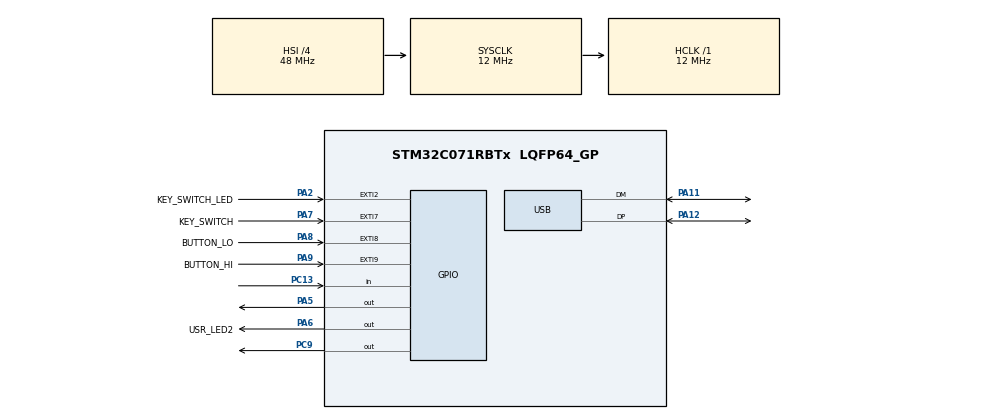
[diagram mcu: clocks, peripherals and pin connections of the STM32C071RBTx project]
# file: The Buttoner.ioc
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FLASH.OB_NBOOT0_UI=OB_nBOOT0_NOUPD
FLASH.OB_NBOOT1_UI=OB_BOOT1__NOUPD
FLASH.OB_User_Configuration_active=true
FLASH.OB_nBOOT_SEL_UI=OB_BOOT0_FROM_PIN
FLASH.advanced_settings=false
Mcu.Family=STM32C0
Mcu.Name=STM32C071RBTx
Mcu.Package=LQFP64_GP
NUCLEO-C071RB.BUTTON=1
NUCLEO-C071RB.Bsp_Common_DEMO=true
NUCLEO-C071RB.LD1=true
NUCLEO-C071RB.LD2=true
NUCLEO-C071RB.VCP=false
NVIC.EXTI4_15_IRQn=true\:0\:0\:false\:false\:true\:false\:true\:true
PA11\ [PA9].Mode=Device
PA11\ [PA9].Signal=USB_DM
PA12\ [PA10].Mode=Device
PA12\ [PA10].Signal=USB_DP
PA13.Mode=Serial_Wire
PA13.Signal=DEBUG_SWDIO
PA14-BOOT0.Mode=Serial_Wire
PA14-BOOT0.Signal=DEBUG_SWCLK
PA2.GPIO_Label=KEY_SWITCH_LED
PA2.GPIO_ModeDefaultEXTI=GPIO_MODE_IT_RISING
PA2.GPIO_PuPd=GPIO_PULLUP
PA2.Signal=GPXTI2
PA5.Signal=GPIO_Output
PA6.GPIO_Label=USR_LED2
PA6.Signal=GPIO_Output
PA7.GPIO_Label=KEY_SWITCH
PA7.GPIO_ModeDefaultEXTI=GPIO_MODE_IT_RISING_FALLING
PA7.GPIO_PuPd=GPIO_PULLUP
PA7.Signal=GPXTI7
PA8.GPIO_Label=BUTTON_LO
PA8.GPIO_ModeDefaultEXTI=GPIO_MODE_IT_RISING_FALLING
PA8.GPIO_PuPd=GPIO_PULLUP
PA8.Signal=GPXTI8
PA9\ [PA11].GPIO_Label=BUTTON_HI
PA9\ [PA11].GPIO_ModeDefaultEXTI=GPIO_MODE_IT_RISING_FALLING
PA9\ [PA11].GPIO_PuPd=GPIO_PULLUP
PA9\ [PA11].Signal=GPXTI9
PC13.Signal=GPIO_Input
PC9.Signal=GPIO_Output
ProjectManager.HeapSize=0x200
ProjectManager.StackSize=0x400
ProjectManager.TargetToolchain=STM32CubeIDE
RCC.ADCFreq_Value=12000000
RCC.AHBFreq_Value=12000000
RCC.CortexFreq_Value=12000000
RCC.EXTERNAL_CLOCK_VALUE=12288000
RCC.HCLKFreq_Value=12000000
RCC.HSE_VALUE=8000000
RCC.HSI48_VALUE=48000000
RCC.HSI_VALUE=48000000
RCC.LSE_VALUE=32768
RCC.SYSCLKFreq_VALUE=12000000
TIM2.AutoReloadPreload=TIM_AUTORELOAD_PRELOAD_DISABLE
TIM2.Period=4294967295
TIM2.TIM_MasterOutputTrigger=TIM_TRGO_ENABLE
TIM2.TIM_MasterSlaveMode=TIM_MASTERSLAVEMODE_DISABLE
USB.VirtualMode=Device_Only
VP_CRC_VS_CRC.Mode=CRC_Activate
VP_FLASH_SIG_Activate_FlashIP.Mode=Activate_FlashIP
VP_NUCLEO-C071RB_VS_BSP_COMMON.Mode=COMMON
VP_TIM2_VS_ClockSourceINT.Mode=Internal
board=NUCLEO-C071RB

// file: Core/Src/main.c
/* USER CODE BEGIN Header */
/**
 ******************************************************************************
 * @file           : main.c
 * @brief          : Main program body
 ******************************************************************************
 * @attention
 *
 * Copyright (c) 2024 STMicroelectronics.
 * All rights reserved.
 *
 * This software is licensed under terms that can be found in the LICENSE file
 * in the root directory of this software component.
 * If no LICENSE file comes with this software, it is provided AS-IS.
 *
 ******************************************************************************
 */
/* USER CODE END Header */
#include "main.h"

__IO uint32_t BspButtonState = BUTTON_RELEASED;

CRC_HandleTypeDef hcrc;

TIM_HandleTypeDef htim2;

PCD_HandleTypeDef hpcd_USB_DRD_FS;

/* USER CODE BEGIN PV */
bool main_initialized = false;
/* USER CODE END PV */

void SystemClock_Config(void);
static void MX_GPIO_Init(void);
static void MX_USB_PCD_Init(void);
static void MX_TIM2_Init(void);
static void MX_FLASH_Init(void);
static void MX_CRC_Init(void);

/* USER CODE BEGIN 0 */

void start_button_timer() {
	htim2.Instance->CNT = 0; // initial run timers seems to be running alr
	HAL_TIM_Base_Start_IT(&htim2);
}

bool enable_nsfw(){

	return (HAL_GPIO_ReadPin(KEY_SWITCH_GPIO_Port, KEY_SWITCH_Pin) == 0);
}

typedef enum Press_Typedef {
	Hardest_Press = 0,
	Hard_Press,
	Medium_Press,
	Soft_Press
} Press_Typedef;

void print_out(Press_Typedef severity){

	if(enable_nsfw())
	{
//		hid_print_text(&NSFW_TEXTS[severity][0]);
		hid_print_text((const char*)messages_get_current()->bank_a[severity]);
	} else {
//		hid_print_text(&SFW_TEXTS[severity][0]);
		hid_print_text((const char*)messages_get_current()->bank_b[severity]);
	}
}

Press_Typedef duration_to_press(uint32_t pressDurationUs) {
	Press_Typedef severity;
	if (pressDurationUs < HARD_MED_LIMIT_US) {
		severity = Hardest_Press;
	} else if (pressDurationUs < MED_SOFT_LIMIT_US) {
		severity = Hard_Press;
	} else if (pressDurationUs < SOFT_LIMIT_US) {
		severity = Medium_Press;
	} else {
		severity = Soft_Press;
	}
	return severity;

}

uint32_t end_button_timer() {
		uint32_t currentCount = htim2.Instance->CNT;
		HAL_TIM_Base_Stop_IT(&htim2);
		uint32_t durationUs = currentCount / 12;
		htim2.Instance->CNT = 0; // clear the counter so we can't double trigger
		return durationUs;
}

void HAL_GPIO_EXTI_Rising_Callback(uint16_t GPIO_Pin) {
	if(!main_initialized)
	{
		return;
	}
	if (GPIO_Pin == BUTTON_LO_Pin) {
		BSP_LED_Off(LED_GREEN);
	}
	if (GPIO_Pin == BUTTON_HI_Pin) {
		BSP_LED_Off(LED_BLUE);
		HAL_GPIO_WritePin(USR_LED2_GPIO_Port, USR_LED2_Pin, GPIO_PIN_RESET);
		uint32_t pressDurationUs = end_button_timer();
		if(pressDurationUs > 0){
			// The button wasn't pressed hard enough to trigger the lower switch, thus consider this the lowest severity
			print_out(Soft_Press);
		}
	}
	if (GPIO_Pin == KEY_SWITCH_Pin) {
		  GPIO_InitTypeDef GPIO_InitStruct = {0};
		  GPIO_InitStruct.Pin = KEY_SWITCH_LED_Pin;
		  GPIO_InitStruct.Mode = GPIO_MODE_IT_RISING;
		  GPIO_InitStruct.Pull = GPIO_PULLDOWN; // cheating by using internal resistor instead of push/pull -> LED OFF
		  HAL_GPIO_Init(KEY_SWITCH_LED_GPIO_Port, &GPIO_InitStruct);
	}

}

void HAL_GPIO_EXTI_Falling_Callback(uint16_t GPIO_Pin) {
	if(!main_initialized)
	{
		return;
	}

	if (GPIO_Pin == BUTTON_LO_Pin) {
		BSP_LED_On(LED_GREEN);
		uint32_t pressDurationUs = end_button_timer();
		if(pressDurationUs > 0)
		{
			Press_Typedef press = duration_to_press(pressDurationUs);
			print_out(press);
		}
	}
	if (GPIO_Pin == BUTTON_HI_Pin) {
		BSP_LED_On(LED_BLUE);
		HAL_GPIO_WritePin(USR_LED2_GPIO_Port, USR_LED2_Pin, GPIO_PIN_SET);
		start_button_timer();
	}
	if (GPIO_Pin == KEY_SWITCH_Pin) {
		  GPIO_InitTypeDef GPIO_InitStruct = {0};
		  GPIO_InitStruct.Pin = KEY_SWITCH_LED_Pin;
		  GPIO_InitStruct.Mode = GPIO_MODE_IT_RISING;
		  GPIO_InitStruct.Pull = GPIO_PULLUP; // cheating by using internal resistor instead of push/pull
		  HAL_GPIO_Init(KEY_SWITCH_LED_GPIO_Port, &GPIO_InitStruct);
	}
}

/* USER CODE END 0 */

int main(void)
{

  /* MCU Configuration--------------------------------------------------------*/

  /* Reset of all peripherals, Initializes the Flash interface and the Systick. */
  HAL_Init();

  /* Configure the system clock */
  SystemClock_Config();

  /* Initialize all configured peripherals */
  MX_GPIO_Init();
  MX_USB_PCD_Init();
  MX_TIM2_Init();
  MX_FLASH_Init();
  MX_CRC_Init();
  /* USER CODE BEGIN 2 */

  if((HAL_GPIO_ReadPin(BUTTON_HI_GPIO_Port, BUTTON_HI_Pin) == 0 && HAL_GPIO_ReadPin(BUTTON_LO_GPIO_Port, BUTTON_LO_Pin) == 0)){
	  // enter bootloader
	  JumpToBootloader();
  }

  /* USER CODE END 2 */

  /* Initialize leds */
  BSP_LED_Init(LED_GREEN);
  BSP_LED_Init(LED_BLUE);

  /* Initialize USER push-button, will be used to trigger an interrupt each time it's pressed.*/
  BSP_PB_Init(BUTTON_USER, BUTTON_MODE_EXTI);

  /* USER CODE BEGIN BSP */

	/* -- Sample board code to switch on leds ---- */

	USBapp_Init();

	main_initialized = true;
  /* USER CODE END BSP */

  /* Infinite loop */
  /* USER CODE BEGIN WHILE */
	while (1) {
		// just wait for interrupts
		__WFI();

//    /* -- Sample board code for User push-button in interrupt mode ---- */
//    if (BspButtonState == BUTTON_PRESSED)
//    {
//      /* Update button state */
//      BspButtonState = BUTTON_RELEASED;
//      /* -- Sample board code to toggle leds ---- */
//      BSP_LED_Toggle(LED_GREEN);
//      BSP_LED_Toggle(LED_BLUE);
//
//      /* ..... Perform your action ..... */
//    }
    /* USER CODE END WHILE */

	}
}

void SystemClock_Config(void)
{
  RCC_OscInitTypeDef RCC_OscInitStruct = {0};
  RCC_ClkInitTypeDef RCC_ClkInitStruct = {0};

  __HAL_FLASH_SET_LATENCY(FLASH_LATENCY_0);

  /** Initializes the RCC Oscillators according to the specified parameters
  * in the RCC_OscInitTypeDef structure.
  */
  RCC_OscInitStruct.OscillatorType = RCC_OSCILLATORTYPE_HSI|RCC_OSCILLATORTYPE_HSI48;
  RCC_OscInitStruct.HSIState = RCC_HSI_ON;
  RCC_OscInitStruct.HSIDiv = RCC_HSI_DIV4;
  RCC_OscInitStruct.HSICalibrationValue = RCC_HSICALIBRATION_DEFAULT;
  RCC_OscInitStruct.HSI48State = RCC_HSI48_ON;

  if (HAL_RCC_OscConfig(&RCC_OscInitStruct) != HAL_OK)
  {
    Error_Handler();
  }

  /** Initializes the CPU, AHB and APB buses clocks
  */
  RCC_ClkInitStruct.ClockType = RCC_CLOCKTYPE_HCLK|RCC_CLOCKTYPE_SYSCLK
                              |RCC_CLOCKTYPE_PCLK1;
  RCC_ClkInitStruct.SYSCLKSource = RCC_SYSCLKSOURCE_HSI;
  RCC_ClkInitStruct.SYSCLKDivider = RCC_SYSCLK_DIV1;
  RCC_ClkInitStruct.AHBCLKDivider = RCC_HCLK_DIV1;
  RCC_ClkInitStruct.APB1CLKDivider = RCC_APB1_DIV1;

  if (HAL_RCC_ClockConfig(&RCC_ClkInitStruct, FLASH_LATENCY_0) != HAL_OK)
  {
    Error_Handler();
  }
}

static void MX_CRC_Init(void)
{

  hcrc.Instance = CRC;
  hcrc.Init.DefaultPolynomialUse = DEFAULT_POLYNOMIAL_ENABLE;
  hcrc.Init.DefaultInitValueUse = DEFAULT_INIT_VALUE_ENABLE;
  hcrc.Init.InputDataInversionMode = CRC_INPUTDATA_INVERSION_NONE;
  hcrc.Init.OutputDataInversionMode = CRC_OUTPUTDATA_INVERSION_DISABLE;
  hcrc.InputDataFormat = CRC_INPUTDATA_FORMAT_BYTES;
  if (HAL_CRC_Init(&hcrc) != HAL_OK)
  {
    Error_Handler();
  }
  /* USER CODE BEGIN CRC_Init 2 */
  // todo actually wire in the crc
  /* USER CODE END CRC_Init 2 */

}

static void MX_FLASH_Init(void)
{

  FLASH_OBProgramInitTypeDef pOBInit = {0};

  if (HAL_FLASH_Unlock() != HAL_OK)
  {
    Error_Handler();
  }

  /* Option Bytes settings */

  if (HAL_FLASH_OB_Unlock() != HAL_OK)
  {
    Error_Handler();
  }
  pOBInit.OptionType = OPTIONBYTE_USER;
  pOBInit.USERType = OB_USER_NBOOT_SEL;
  pOBInit.USERConfig = OB_BOOT0_FROM_PIN;
  if (HAL_FLASHEx_OBProgram(&pOBInit) != HAL_OK)
  {
    Error_Handler();
  }
  if (HAL_FLASH_OB_Lock() != HAL_OK)
  {
    Error_Handler();
  }
  if (HAL_FLASH_Lock() != HAL_OK)
  {
    Error_Handler();
  }

}

static void MX_TIM2_Init(void)
{

  TIM_ClockConfigTypeDef sClockSourceConfig = {0};
  TIM_MasterConfigTypeDef sMasterConfig = {0};

  htim2.Instance = TIM2;
  htim2.Init.Prescaler = 0;
  htim2.Init.CounterMode = TIM_COUNTERMODE_UP;
  htim2.Init.Period = 4294967295;
  htim2.Init.ClockDivision = TIM_CLOCKDIVISION_DIV1;
  htim2.Init.AutoReloadPreload = TIM_AUTORELOAD_PRELOAD_DISABLE;
  if (HAL_TIM_Base_Init(&htim2) != HAL_OK)
  {
    Error_Handler();
  }
  sClockSourceConfig.ClockSource = TIM_CLOCKSOURCE_INTERNAL;
  if (HAL_TIM_ConfigClockSource(&htim2, &sClockSourceConfig) != HAL_OK)
  {
    Error_Handler();
  }
  sMasterConfig.MasterOutputTrigger = TIM_TRGO_ENABLE;
  sMasterConfig.MasterSlaveMode = TIM_MASTERSLAVEMODE_DISABLE;
  if (HAL_TIMEx_MasterConfigSynchronization(&htim2, &sMasterConfig) != HAL_OK)
  {
    Error_Handler();
  }
  /* USER CODE BEGIN TIM2_Init 2 */
	HAL_TIM_Base_Start(&htim2);
  /* USER CODE END TIM2_Init 2 */

}

static void MX_USB_PCD_Init(void)
{

  hpcd_USB_DRD_FS.Instance = USB_DRD_FS;
  hpcd_USB_DRD_FS.Init.dev_endpoints = 8;
  hpcd_USB_DRD_FS.Init.speed = USBD_FS_SPEED;
  hpcd_USB_DRD_FS.Init.phy_itface = PCD_PHY_EMBEDDED;
  hpcd_USB_DRD_FS.Init.Sof_enable = DISABLE;
  hpcd_USB_DRD_FS.Init.low_power_enable = DISABLE;
  hpcd_USB_DRD_FS.Init.lpm_enable = DISABLE;
  hpcd_USB_DRD_FS.Init.battery_charging_enable = DISABLE;
  hpcd_USB_DRD_FS.Init.vbus_sensing_enable = DISABLE;
  hpcd_USB_DRD_FS.Init.bulk_doublebuffer_enable = DISABLE;
  hpcd_USB_DRD_FS.Init.iso_singlebuffer_enable = DISABLE;
  if (HAL_PCD_Init(&hpcd_USB_DRD_FS) != HAL_OK)
  {
    Error_Handler();
  }

}

static void MX_GPIO_Init(void)
{
  GPIO_InitTypeDef GPIO_InitStruct = {0};

  /* GPIO Ports Clock Enable */
  __HAL_RCC_GPIOA_CLK_ENABLE();

  /*Configure GPIO pin Output Level */
  HAL_GPIO_WritePin(USR_LED2_GPIO_Port, USR_LED2_Pin, GPIO_PIN_RESET);

  /*Configure GPIO pin : KEY_SWITCH_LED_Pin */
  GPIO_InitStruct.Pin = KEY_SWITCH_LED_Pin;
  GPIO_InitStruct.Mode = GPIO_MODE_IT_RISING;
  GPIO_InitStruct.Pull = GPIO_PULLUP;
  HAL_GPIO_Init(KEY_SWITCH_LED_GPIO_Port, &GPIO_InitStruct);

  /*Configure GPIO pin : USR_LED2_Pin */
  GPIO_InitStruct.Pin = USR_LED2_Pin;
  GPIO_InitStruct.Mode = GPIO_MODE_OUTPUT_PP;
  GPIO_InitStruct.Pull = GPIO_NOPULL;
  GPIO_InitStruct.Speed = GPIO_SPEED_FREQ_LOW;
  HAL_GPIO_Init(USR_LED2_GPIO_Port, &GPIO_InitStruct);

  /*Configure GPIO pins : KEY_SWITCH_Pin BUTTON_LO_Pin BUTTON_HI_Pin */
  GPIO_InitStruct.Pin = KEY_SWITCH_Pin|BUTTON_LO_Pin|BUTTON_HI_Pin;
  GPIO_InitStruct.Mode = GPIO_MODE_IT_RISING_FALLING;
  GPIO_InitStruct.Pull = GPIO_PULLUP;
  HAL_GPIO_Init(GPIOA, &GPIO_InitStruct);

  /* EXTI interrupt init*/
  HAL_NVIC_SetPriority(EXTI4_15_IRQn, 0, 0);
  HAL_NVIC_EnableIRQ(EXTI4_15_IRQn);

}

/**
  * @brief  BSP Push Button callback
  * @param  Button Specifies the pressed button
  * @retval None
  */
void BSP_PB_Callback(Button_TypeDef Button)
{
  if (Button == BUTTON_USER)
  {
    BspButtonState = BUTTON_PRESSED;
  }
}

void Error_Handler(void)
{
	__disable_irq();
	while (1) {
	}
}
